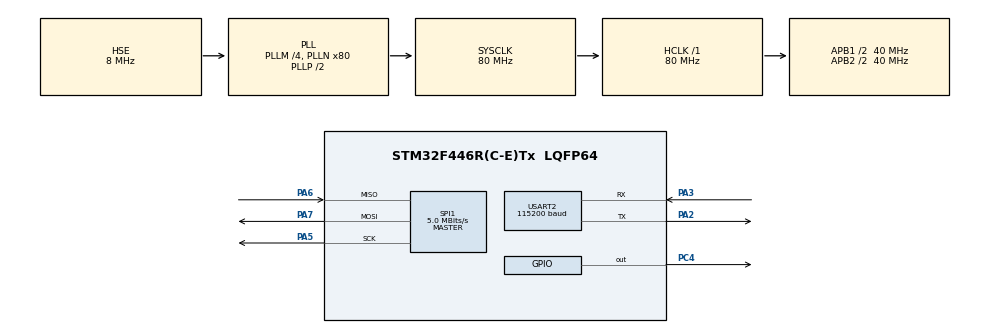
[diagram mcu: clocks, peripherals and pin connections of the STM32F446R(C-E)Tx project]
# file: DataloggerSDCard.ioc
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FATFS._MAX_SS=4096
FATFS._USE_LFN=1
Mcu.Family=STM32F4
Mcu.Name=STM32F446R(C-E)Tx
Mcu.Package=LQFP64
NVIC.PriorityGroup=NVIC_PRIORITYGROUP_4
PA2.Mode=Asynchronous
PA2.Signal=USART2_TX
PA3.Mode=Asynchronous
PA3.Signal=USART2_RX
PA5.Mode=Full_Duplex_Master
PA5.Signal=SPI1_SCK
PA6.Mode=Full_Duplex_Master
PA6.Signal=SPI1_MISO
PA7.Mode=Full_Duplex_Master
PA7.Signal=SPI1_MOSI
PC4.GPIO_Speed=GPIO_SPEED_FREQ_MEDIUM
PC4.PinState=GPIO_PIN_SET
PC4.Signal=GPIO_Output
PH0-OSC_IN.Mode=HSE-External-Oscillator
PH0-OSC_IN.Signal=RCC_OSC_IN
PH1-OSC_OUT.Mode=HSE-External-Oscillator
PH1-OSC_OUT.Signal=RCC_OSC_OUT
ProjectManager.HeapSize=0x200
ProjectManager.StackSize=0x400
ProjectManager.TargetToolchain=STM32CubeIDE
RCC.AHBFreq_Value=80000000
RCC.APB1CLKDivider=RCC_HCLK_DIV2
RCC.APB1Freq_Value=40000000
RCC.APB1TimFreq_Value=80000000
RCC.APB2CLKDivider=RCC_HCLK_DIV2
RCC.APB2Freq_Value=40000000
RCC.APB2TimFreq_Value=80000000
RCC.CortexFreq_Value=80000000
RCC.HCLKFreq_Value=80000000
RCC.HSE_VALUE=8000000
RCC.PLLM=4
RCC.PLLN=80
RCC.PLLSourceVirtual=RCC_PLLSOURCE_HSE
RCC.SYSCLKFreq_VALUE=80000000
RCC.SYSCLKSource=RCC_SYSCLKSOURCE_PLLCLK
RCC.USBFreq_Value=80000000
RCC.VCOOutputFreq_Value=160000000
SPI1.BaudRatePrescaler=SPI_BAUDRATEPRESCALER_8
SPI1.CalculateBaudRate=5.0 MBits/s
SPI1.Direction=SPI_DIRECTION_2LINES
SPI1.Mode=SPI_MODE_MASTER
SPI1.VirtualType=VM_MASTER
USART2.BaudRate=115200
USART2.VirtualMode=VM_ASYNC
VP_FATFS_VS_Generic.Mode=User_defined
board=custom

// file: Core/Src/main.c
/* USER CODE BEGIN Header */
/**
  ******************************************************************************
  * @file           : main.c
  * @brief          : Main program body
  ******************************************************************************
  * @attention
  *
  * Copyright (c) 2023 STMicroelectronics.
  * All rights reserved.
  *
  * This software is licensed under terms that can be found in the LICENSE file
  * in the root directory of this software component.
  * If no LICENSE file comes with this software, it is provided AS-IS.
  *
  *
  *SD CARD PINOUTS
  *SCK - PA5
  *MISO - PA6
  *MOSI - PA7
  *CS - PC4
  ******************************************************************************
  */
/* USER CODE END Header */
#include "main.h"
#include "fatfs.h"

/* USER CODE BEGIN Includes */
#include "fatfs_sd.h"
#include <string.h>
#include <stdio.h>
/* USER CODE END Includes */

SPI_HandleTypeDef hspi1;

UART_HandleTypeDef huart2;
CircularBuffer FEBBuffer;

void SystemClock_Config(void);
static void MX_GPIO_Init(void);
static void MX_SPI1_Init(void);
static void MX_USART2_UART_Init(void);

/* USER CODE BEGIN 0 */

FATFS fs;//file system
FIL fil; //file
FRESULT fres;//store result

UINT br,bw; //file read/write count

char buffer[1024]; // store data

//Capacity related stuff
FATFS *pfs;
DWORD fre_clust;
uint32_t totalSpace, freeSpace;

void send_uart(char *string){
	uint8_t len = strlen(string);
	HAL_UART_Transmit(&huart2, (uint8_t *)string, len, 2000);
}
// gets the size of the buffer
int bufsize(char *buf){
	int i = 0;
	while (*buf++ != '\0') i++;
	return i;
}
void bufclear(void){
	for(int i = 0; i<1024; i++ ){
		buffer[i] = '\0';
	}
}

/* USER CODE END 0 */

int main(void)
{

  /* MCU Configuration--------------------------------------------------------*/

  /* Reset of all peripherals, Initializes the Flash interface and the Systick. */
  HAL_Init();

  /* Configure the system clock */
  SystemClock_Config();

  /* Initialize all configured peripherals */
  MX_GPIO_Init();
  MX_SPI1_Init();
  MX_FATFS_Init();
  MX_USART2_UART_Init();
  /* USER CODE BEGIN 2 */
  fres = f_mount(&fs, "", 0);
  if (fres != FR_OK) send_uart ("error in mounting SD Card...\n");
  else send_uart("SD Card mounted successfully...");

  f_getfree("", &fre_clust, &pfs);

  totalSpace = (uint32_t)((pfs->n_fatent - 2) * pfs->csize * 0.5);
  sprintf (buffer, "SD CARD Total Size: \t%lu\n", totalSpace);
  send_uart(buffer);
  bufclear();
  freeSpace = (uint32_t)(fre_clust * pfs->csize * 0.5);
  sprintf (buffer, "SD CARD Free Space: \t%lu\n",freeSpace);
  send_uart(buffer);

  //Open file to write/create a file it doesn't exist
  fres = f_open(&fil, "file1.txt", FA_OPEN_ALWAYS | FA_READ | FA_WRITE);

  // Writing text
  fres = f_puts("This data is from the First FILE\n\n", &fil);

  send_uart ("File1.txt created and the data is written \n");

  //Close file
  fres = f_close(&fil);

 //Open file to read
  fres = f_open(&fil, "file1.txt", FA_READ);

  //Read string from the file
  f_gets(buffer, sizeof(buffer), &fil);

  send_uart(buffer);

  //Close file
  f_close(&fil);

  bufclear();

  /* UART testing */
  uint8_t data[20];

  FEB_circBuf_init(&FEBBuffer);

  /* USER CODE END 2 */

  /* Infinite loop */
  /* USER CODE BEGIN WHILE */
  while (1)
  {
	  strcpy((char*)data,"Hello!\r\n");

	  HAL_UART_Transmit(&huart2, data, strlen((char*)data), HAL_MAX_DELAY);
	  HAL_Delay(300);
    /* USER CODE END WHILE */

  }
}

void SystemClock_Config(void)
{
  RCC_OscInitTypeDef RCC_OscInitStruct = {0};
  RCC_ClkInitTypeDef RCC_ClkInitStruct = {0};

  /** Configure the main internal regulator output voltage
  */
  __HAL_RCC_PWR_CLK_ENABLE();
  __HAL_PWR_VOLTAGESCALING_CONFIG(PWR_REGULATOR_VOLTAGE_SCALE3);

  /** Initializes the RCC Oscillators according to the specified parameters
  * in the RCC_OscInitTypeDef structure.
  */
  RCC_OscInitStruct.OscillatorType = RCC_OSCILLATORTYPE_HSE;
  RCC_OscInitStruct.HSEState = RCC_HSE_ON;
  RCC_OscInitStruct.PLL.PLLState = RCC_PLL_ON;
  RCC_OscInitStruct.PLL.PLLSource = RCC_PLLSOURCE_HSE;
  RCC_OscInitStruct.PLL.PLLM = 4;
  RCC_OscInitStruct.PLL.PLLN = 80;
  RCC_OscInitStruct.PLL.PLLP = RCC_PLLP_DIV2;
  RCC_OscInitStruct.PLL.PLLQ = 2;
  RCC_OscInitStruct.PLL.PLLR = 2;
  if (HAL_RCC_OscConfig(&RCC_OscInitStruct) != HAL_OK)
  {
    Error_Handler();
  }

  /** Initializes the CPU, AHB and APB buses clocks
  */
  RCC_ClkInitStruct.ClockType = RCC_CLOCKTYPE_HCLK|RCC_CLOCKTYPE_SYSCLK
                              |RCC_CLOCKTYPE_PCLK1|RCC_CLOCKTYPE_PCLK2;
  RCC_ClkInitStruct.SYSCLKSource = RCC_SYSCLKSOURCE_PLLCLK;
  RCC_ClkInitStruct.AHBCLKDivider = RCC_SYSCLK_DIV1;
  RCC_ClkInitStruct.APB1CLKDivider = RCC_HCLK_DIV2;
  RCC_ClkInitStruct.APB2CLKDivider = RCC_HCLK_DIV2;

  if (HAL_RCC_ClockConfig(&RCC_ClkInitStruct, FLASH_LATENCY_2) != HAL_OK)
  {
    Error_Handler();
  }
}

static void MX_SPI1_Init(void)
{

  /* SPI1 parameter configuration*/
  hspi1.Instance = SPI1;
  hspi1.Init.Mode = SPI_MODE_MASTER;
  hspi1.Init.Direction = SPI_DIRECTION_2LINES;
  hspi1.Init.DataSize = SPI_DATASIZE_8BIT;
  hspi1.Init.CLKPolarity = SPI_POLARITY_LOW;
  hspi1.Init.CLKPhase = SPI_PHASE_1EDGE;
  hspi1.Init.NSS = SPI_NSS_SOFT;
  hspi1.Init.BaudRatePrescaler = SPI_BAUDRATEPRESCALER_8;
  hspi1.Init.FirstBit = SPI_FIRSTBIT_MSB;
  hspi1.Init.TIMode = SPI_TIMODE_DISABLE;
  hspi1.Init.CRCCalculation = SPI_CRCCALCULATION_DISABLE;
  hspi1.Init.CRCPolynomial = 10;
  if (HAL_SPI_Init(&hspi1) != HAL_OK)
  {
    Error_Handler();
  }

}

static void MX_USART2_UART_Init(void)
{

  huart2.Instance = USART2;
  huart2.Init.BaudRate = 115200;
  huart2.Init.WordLength = UART_WORDLENGTH_8B;
  huart2.Init.StopBits = UART_STOPBITS_1;
  huart2.Init.Parity = UART_PARITY_NONE;
  huart2.Init.Mode = UART_MODE_TX_RX;
  huart2.Init.HwFlowCtl = UART_HWCONTROL_NONE;
  huart2.Init.OverSampling = UART_OVERSAMPLING_16;
  if (HAL_UART_Init(&huart2) != HAL_OK)
  {
    Error_Handler();
  }

}

static void MX_GPIO_Init(void)
{
  GPIO_InitTypeDef GPIO_InitStruct = {0};

  /* GPIO Ports Clock Enable */
  __HAL_RCC_GPIOH_CLK_ENABLE();
  __HAL_RCC_GPIOA_CLK_ENABLE();
  __HAL_RCC_GPIOC_CLK_ENABLE();

  /*Configure GPIO pin Output Level */
  HAL_GPIO_WritePin(GPIOC, GPIO_PIN_4, GPIO_PIN_SET);

  /*Configure GPIO pin : PC4 */
  GPIO_InitStruct.Pin = GPIO_PIN_4;
  GPIO_InitStruct.Mode = GPIO_MODE_OUTPUT_PP;
  GPIO_InitStruct.Pull = GPIO_NOPULL;
  GPIO_InitStruct.Speed = GPIO_SPEED_FREQ_MEDIUM;
  HAL_GPIO_Init(GPIOC, &GPIO_InitStruct);

}

void Error_Handler(void)
{
  __disable_irq();
  while (1)
  {
  }
}
